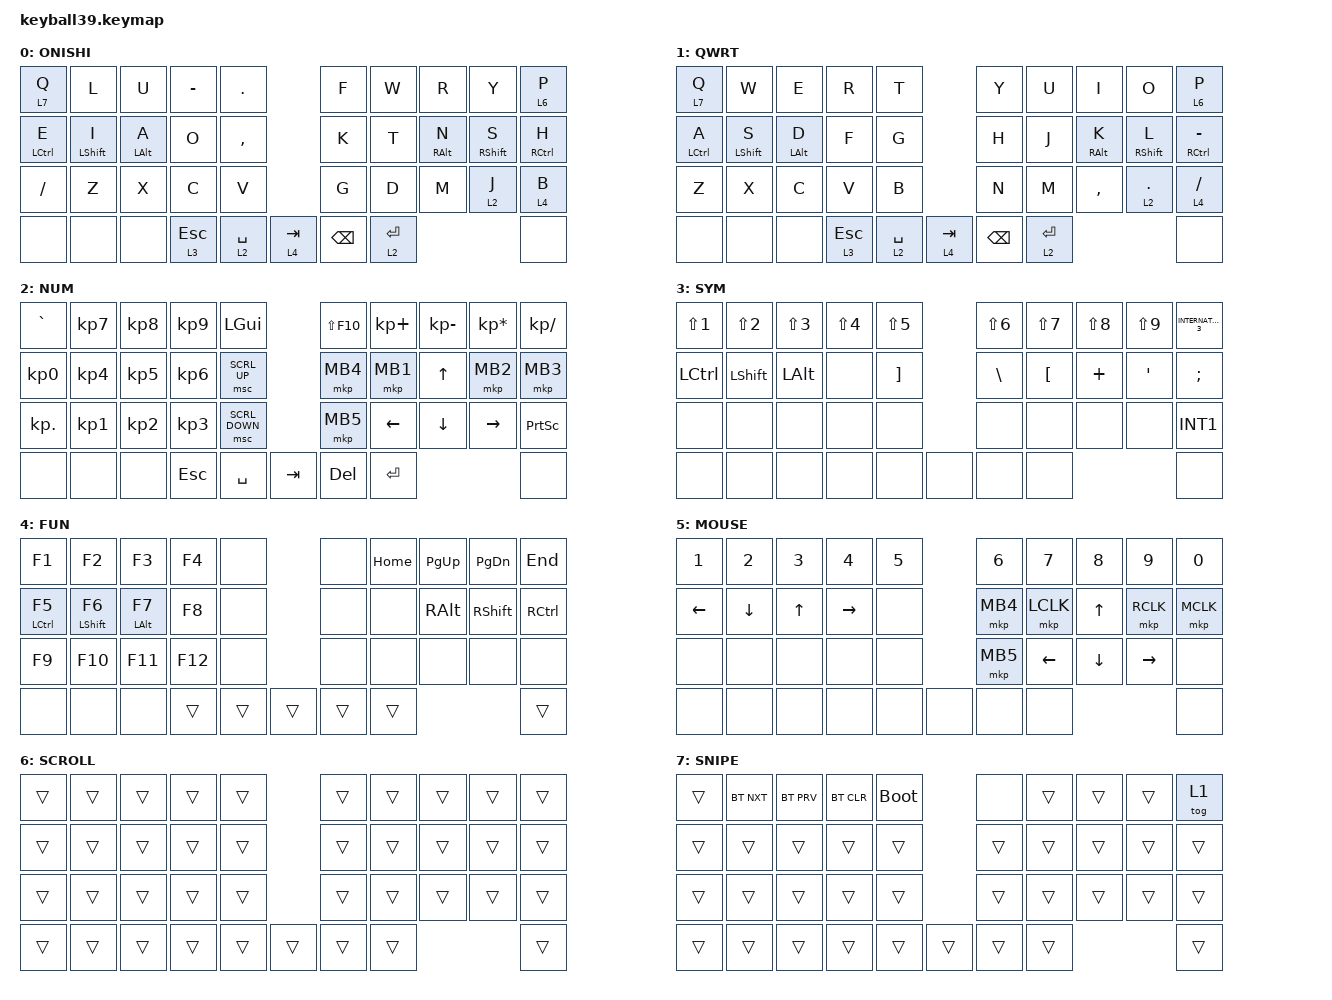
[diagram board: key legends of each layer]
#define DEFAULT 0
#define NUM     1
#define SYM     2
#define FUN     3
#define MOUSE   4
#define SCROLL  5
#define SNIPE   6

#include <behaviors/mouse_keys.dtsi>
#include <dt-bindings/zmk/mouse.h>
#include <behaviors.dtsi>
#include <dt-bindings/zmk/bt.h>
#include <dt-bindings/zmk/keys.h>
#include <dt-bindings/zmk/pointing.h>

&lt {
    tapping-term-ms = <240>;
    flavor = "balanced";
    quick-tap-ms = <150>;
};

&mt {
    tapping-term-ms = <240>;
    flavor = "tap-preferred";
    quick-tap-ms = <150>;
};

&caps_word { continue-list = <UNDERSCORE MINUS>; };

/ {
    // custom shift using mod-morph 

    behaviors {
        cmqus: comma_question {
            compatible = "zmk,behavior-mod-morph";
            label = "COMMA_QUESTION";
            #binding-cells = <0>;
            bindings = <&kp COMMA>, <&kp QUESTION>;

            mods = <(MOD_LSFT|MOD_RSFT)>;
        };

        dtsmi: dot_semi {
            compatible = "zmk,behavior-mod-morph";
            label = "DOT_SEMI";
            #binding-cells = <0>;
            bindings = <&kp DOT>, <&kp SEMI>;

            mods = <(MOD_LSFT|MOD_RSFT)>;
        };
    };

    macros {
        Hiragana: Hiragana {
            compatible = "zmk,behavior-macro";
            #binding-cells = <0>;
            bindings = <&kp LC(SPACE)>;
            label = "HIRAGANA";
        };
    };

    keymap {
        compatible = "zmk,keymap";

        hai2_layer {
            label = " ONISHI";
            bindings = <
&lt 7 Q      &kp L             &kp U           &kp MINUS     &kp PERIOD                             &kp F        &kp W  &kp R            &kp Y              &lt 6 P
&mt LCTRL E  &mt LEFT_SHIFT I  &mt LEFT_ALT A  &kp O         &kp COMMA                              &kp K        &kp T  &mt RIGHT_ALT N  &mt RIGHT_SHIFT S  &mt RCTRL H
&kp SLASH    &kp Z             &kp X           &kp C         &kp V                                  &kp G        &kp D  &kp M            &lt 2 J            &lt 4 B
&none        &none             &none           &lt 3 ESCAPE  &lt 2 SPACE  &lt 4 TAB  &kp BACKSPACE  &lt 2 ENTER                                             &none
            >;
        };

        default_layer {
            label = "QWRT";
            bindings = <
&lt 7 Q      &kp W             &kp E           &kp R         &kp T                                  &kp Y        &kp U  &kp I            &kp O              &lt 6 P
&mt LCTRL A  &mt LEFT_SHIFT S  &mt LEFT_ALT D  &kp F         &kp G                                  &kp H        &kp J  &mt RIGHT_ALT K  &mt RIGHT_SHIFT L  &mt RCTRL MINUS
&kp Z        &kp X             &kp C           &kp V         &kp B                                  &kp N        &kp M  &kp COMMA        &lt 2 PERIOD       &lt 4 SLASH
&none        &none             &none           &lt 3 ESCAPE  &lt 2 SPACE  &lt 4 TAB  &kp BACKSPACE  &lt 2 ENTER                                             &none
            >;
        };

        number_layer {
            label = "NUM";
            bindings = <
&kp GRAVE   &kp KP_NUMBER_7  &kp KP_NUMBER_8  &kp KP_NUMBER_9  &kp LEFT_GUI                      &kp LS(F10)  &kp KP_PLUS  &kp KP_MINUS  &kp KP_ASTERISK  &kp KP_SLASH
&kp KP_N0   &kp KP_N4        &kp KP_N5        &kp KP_NUMBER_6  &msc SCRL_UP                      &mkp MB4     &mkp MB1     &kp UP_ARROW  &mkp MB2         &mkp MB3
&kp KP_DOT  &kp KP_NUMBER_1  &kp KP_NUMBER_2  &kp KP_NUMBER_3  &msc SCRL_DOWN                    &mkp MB5     &kp LEFT     &kp DOWN      &kp RIGHT        &kp PRINTSCREEN
&none       &none            &none            &kp ESCAPE       &kp SPACE       &kp TAB  &kp DEL  &kp ENTER                                                &none
            >;
        };

        symbol_layer {
            label = "SYM";
            bindings = <
&kp LS(NUMBER_1)  &kp LS(NUMBER_2)  &kp LS(NUMBER_3)  &kp LS(NUMBER_4)  &kp LS(N5)                       &kp LS(NUMBER_6)  &kp LS(N7)        &kp LS(N8)  &kp LS(N9)        &kp INTERNATIONAL_3
&kp LCTRL         &kp LEFT_SHIFT    &kp LEFT_ALT      &none             &kp RIGHT_BRACKET                &kp BACKSLASH     &kp LEFT_BRACKET  &kp PLUS    &kp SINGLE_QUOTE  &kp SEMICOLON
&none             &none             &none             &none             &none                            &none             &none             &none       &none             &kp INT1
&none             &none             &none             &none             &none              &none  &none  &none                                                             &none
            >;
        };

        function_layer {
            label = "FUN";
            bindings = <
&kp F1        &kp F2         &kp F3           &kp F4   &none                   &none   &kp HOME  &kp PAGE_UP    &kp PAGE_DOWN  &kp END
&mt LCTRL F5  &mt LSHIFT F6  &mt LEFT_ALT F7  &kp F8   &none                   &none   &none     &kp RIGHT_ALT  &kp RSHIFT     &kp RCTRL
&kp F9        &kp F10        &kp F11          &kp F12  &none                   &none   &none     &none          &none          &none
&none         &none          &none            &trans   &trans  &trans  &trans  &trans                                          &trans
            >;
        };

        mouse_layer {
            label = "MOUSE";
            bindings = <
&kp N1          &kp N2          &kp N3        &kp N4     &kp N5                &kp N6    &kp N7     &kp N8    &kp N9     &kp N0
&kp LEFT_ARROW  &kp DOWN_ARROW  &kp UP_ARROW  &kp RIGHT  &none                 &mkp MB4  &mkp LCLK  &kp UP    &mkp RCLK  &mkp MCLK
&none           &none           &none         &none      &none                 &mkp MB5  &kp LEFT   &kp DOWN  &kp RIGHT  &none
&none           &none           &none         &none      &none   &none  &none  &none                                     &none
            >;
        };

        scroll_layer {
            label = "SCROLL";
            bindings = <
&trans  &trans  &trans  &trans  &trans                  &trans  &trans  &trans  &trans  &trans
&trans  &trans  &trans  &trans  &trans                  &trans  &trans  &trans  &trans  &trans
&trans  &trans  &trans  &trans  &trans                  &trans  &trans  &trans  &trans  &trans
&trans  &trans  &trans  &trans  &trans  &trans  &trans  &trans                          &trans
            >;
        };

        snipe_layer {
            label = "SNIPE";
            bindings = <
&trans  &bt BT_NXT  &bt BT_PRV  &bt BT_CLR  &bootloader                  &none   &trans  &trans  &trans  &tog 1
&trans  &trans      &trans      &trans      &trans                       &trans  &trans  &trans  &trans  &trans
&trans  &trans      &trans      &trans      &trans                       &trans  &trans  &trans  &trans  &trans
&trans  &trans      &trans      &trans      &trans       &trans  &trans  &trans                          &trans
            >;
        };
    };
};
